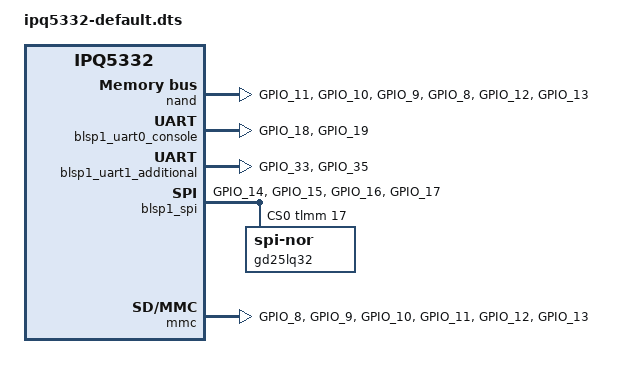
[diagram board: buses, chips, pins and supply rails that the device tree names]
// SPDX-License-Identifier: GPL-2.0-only
/*
* Copyright (c) 2023, Qualcomm Innovation Center, Inc. All rights reserved.
*/

#include "ipq5332.dtsi"

/ {
	config_name = "config@default";

	aliases {
		console = &blsp1_uart0_console;
		uart2 = &blsp1_uart1_additional;
		sdhci = &mmc;
	};

	soc: soc {
		tlmm: pinctrl@1000000 {
			sdhci_pinmux: mmc {
				emmc_data {
					pins = "GPIO_8", "GPIO_9", "GPIO_10",
						"GPIO_11";
					function = "sdc";
					drive-strength = <DRIVE_STRENGTH_8MA>;
					bias-pull-up;
				};

				emmc_cmd{
					pins = "GPIO_12";
					function = "sdc";
					drive-strength = <DRIVE_STRENGTH_8MA>;
					bias-pull-up;
				};

				emmc_clk{
					pins = "GPIO_13";
					function = "sdc";
					drive-strength = <DRIVE_STRENGTH_8MA>;
					bias-disable;
				};
			};

			qspi_pinmux: nand {
				qspi_data {
					pins = "GPIO_11", "GPIO_10", "GPIO_9",
						"GPIO_8";
					function = "qspi";
					drive-strength = <DRIVE_STRENGTH_8MA>;
					bias-pull-down;
				};

				qspi_cs_n {
					pins = "GPIO_12";
					function = "qspi";
					drive-strength = <DRIVE_STRENGTH_8MA>;
					bias-pull-up;
				};

				qspi_clk {
					pins = "GPIO_13";
					function = "qspi";
					drive-strength = <DRIVE_STRENGTH_8MA>;
					bias-pull-down;
				};
			};

			serial_pinmux: uart {
				u-boot,dm-pre-reloc;
				data {
					u-boot,dm-pre-reloc;
					pins = "GPIO_18", "GPIO_19";
					function = "blsp0_uart0";
					drive-strength = <DRIVE_STRENGTH_8MA>;
					bias-pull-up;
				};
			};

			serial_pinmux2: uart2 {
				data {
					pins = "GPIO_33", "GPIO_35";
					function = "blsp1_uart2";
					drive-strength = <DRIVE_STRENGTH_8MA>;
					bias-pull-up;
				};
			};

			blsp1_spi_pinmux: blsp1_spi_pins {
				blsp0_spi_clk {
					pins = "GPIO_14";
					function = "blsp0_spi";
					drive-strength = <DRIVE_STRENGTH_8MA>;
					bias-disable;
				};

				blsp0_spi_mosi {
					pins = "GPIO_15";
					function = "blsp0_spi";
					drive-strength = <DRIVE_STRENGTH_8MA>;
					bias-disable;
				};

				blsp0_spi_miso {
					pins = "GPIO_16";
					function = "blsp0_spi";
					drive-strength = <DRIVE_STRENGTH_8MA>;
					bias-disable;
				};

				blsp0_spi_cs {
					pins = "GPIO_17";
					function = "blsp0_spi";
					drive-strength = <DRIVE_STRENGTH_8MA>;
					bias-pull-up;
				};

			};

			mdio_pinmux: mdio {
				mdc {
					pins = "GPIO_27";
					function = "mdc_1";
					drive-strength = <DRIVE_STRENGTH_8MA>;
					bias-disable;
				};

				mdio {
					pins = "GPIO_28";
					function = "mdio_1";
					drive-strength = <DRIVE_STRENGTH_8MA>;
					bias-pull-up;
				};
			};

			phy_rst_pinmux: phy_rst {
				qti_8x8x_rst {
					pins = "GPIO_51";
					bias-pull-up;
				};
			};
		};

		watchdog: non-sec@b017000 {
			status = "okay";
		};

		nand: nand-controller@79B0000 {
			pinctrl-names = "default";
			pinctrl-0 = <&qspi_pinmux>;
			status = "okay";
		};

		blsp1_uart0_console: serial@78af000 {
			pinctrl-names = "default";
			pinctrl-0 = <&serial_pinmux>;
			status = "okay";
		};

		blsp1_uart1_additional: serial@78b0000 {
			pinctrl-names = "default";
			pinctrl-0 = <&serial_pinmux2>;
			status = "okay";
		};

		blsp1_spi: spi@78b5000 {
			pinctrl-names = "default";
			pinctrl-0 = <&blsp1_spi_pinmux>;
			cs-gpios = <&tlmm 17 0>;
			force-cs;
			status = "okay";

			gd25lq32@0 {
				compatible = "jedec,spi-nor";
				reg = <0>;
			};
		};

		mmc: sdhci@7800000 {
			pinctrl-names = "default";
			pinctrl-0 = <&sdhci_pinmux>;
			status = "okay";
		};
	};
};
